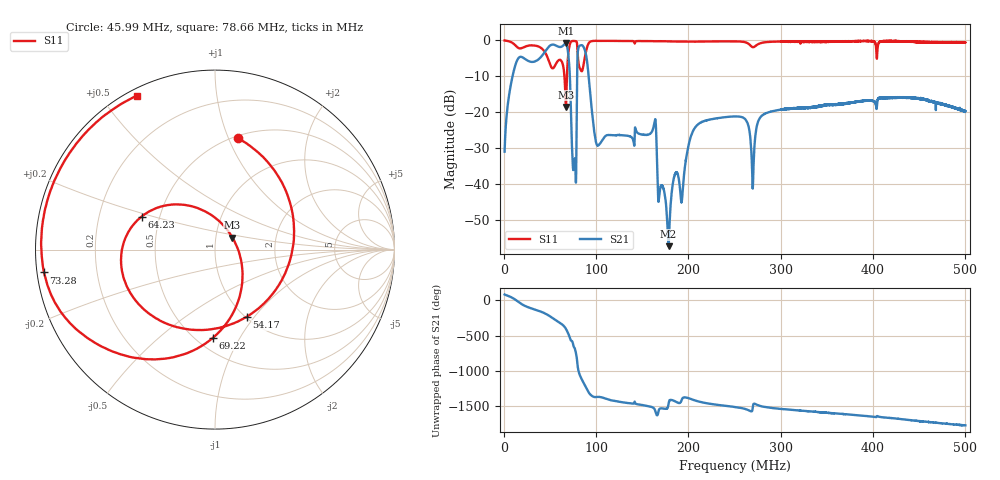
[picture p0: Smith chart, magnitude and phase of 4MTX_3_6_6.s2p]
! NanoVNA-App
! Date: 2026-08-18 21:19:10
! Start: 1MHz Stop: 500MHz Points: 6401
! S-Parameter data: F S11 S21 S12 S22
# Hz S RI R 50
!  Frequency  S11_Real  S11_Imag  S21_Real  S21_Imag  S12_Real  S12_Imag  S22_Real  S22_Imag
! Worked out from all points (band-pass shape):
!   6401 points, 1 MHz to 500 MHz, reference 50 ohm
!   highest |S21| = -0.89 dB at 67.12 MHz (marker M1); lowest = -57.3 dB at 178.5 MHz (marker M2)
!   |S21| within 3 dB of the highest: 42.85 MHz to 69.91 MHz (27.05 MHz wide, 48 % of centre); 80.05 MHz to 89.02 MHz (8.965 MHz wide, 10.6 % of centre)
!   lowest |S11| = -18.6 dB at 67.35 MHz (marker M3), VSWR 1.27, Z = 60.1 + j8.21 ohm
!   |S11| at or under -10 dB: 65.76 MHz to 68.52 MHz (2.762 MHz wide, 4.11 % of centre)
!   S12 and S22 are empty: the file has one direction only
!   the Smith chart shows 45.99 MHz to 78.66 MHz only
!   S11 on the Smith chart (normalised r, x): 45.99 MHz: 0.52, +1.08; 54.17 MHz: 1.01, -0.91; 64.23 MHz: 0.40, +0.18; 69.22 MHz: 0.60, -0.78; 73.28 MHz: 0.02, -0.07; 78.66 MHz: 0.03, +0.61
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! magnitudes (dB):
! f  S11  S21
! 1 MHz  -0.1  -31.0
! 14.49 MHz  -1.9  -5.6
! 45.99 MHz  -4.0  -2.8
! 54.17 MHz  -7.7  -1.3
! 64.23 MHz  -7.0  -1.5
! 67.12 MHz  -17.5  -0.9
! 67.35 MHz  -18.6  -0.9
! 69.22 MHz  -6.2  -2.5
! 73.28 MHz  -0.3  -24.3
! 76.32 MHz  -0.2  -35.2
! 78.66 MHz  -0.3  -32.9
! 84.19 MHz  -8.6  -1.4
! 101.3 MHz  -0.2  -29.3
! 162.7 MHz  -0.3  -23.6
! 167.4 MHz  -0.3  -44.5
! 178.5 MHz  -0.3  -57.3
! 206.6 MHz  -0.4  -24.6
! 250.5 MHz  -0.4  -21.2
! 269.8 MHz  -2.0  -41.3
! 333.7 MHz  -0.5  -18.6
! 416.9 MHz  -0.3  -16.1
! 500 MHz  -0.6  -19.7
